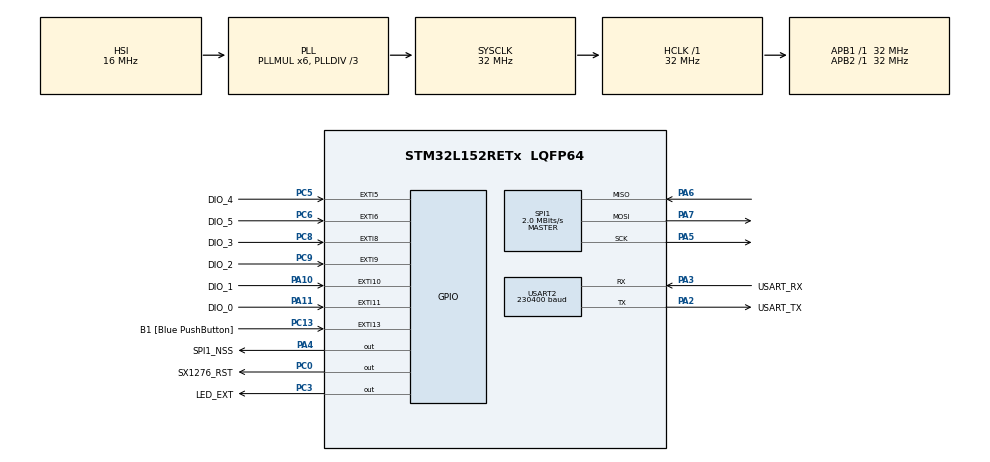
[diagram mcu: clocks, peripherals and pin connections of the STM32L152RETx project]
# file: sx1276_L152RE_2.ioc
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Mcu.Family=STM32L1
PA6.Mode=Full_Duplex_Master
PH0-OSC_IN.Signal=RCC_OSC_IN
SPI1.VirtualType=VM_MASTER
PA14.GPIO_Label=TCK
PC0.GPIO_Label=SX1276_RST
PC6.GPIO_Label=DIO_5
VP_RTC_VS_RTC_Activate.Mode=RTC_Enabled
VP_RTC_VS_RTC_Alarm_A_Intern.Mode=Alarm A
RCC.SYSCLKSource=RCC_SYSCLKSOURCE_PLLCLK
ProjectManager.StackSize=0x400
RCC.PLLDIV=RCC_PLL_DIV3
SPI1.Direction=SPI_DIRECTION_2LINES
RCC.HCLKFreq_Value=32000000
PC13-WKUP2.GPIO_Label=B1 [Blue PushButton]
RCC.APB2TimFreq_Value=32000000
SPI1.CalculateBaudRate=2.0 MBits/s
PC3.Signal=GPIO_Output
RCC.AHBFreq_Value=32000000
PH0-OSC_IN.Mode=HSE-External-Clock-Source
NVIC.EXTI15_10_IRQn=true\:5\:0\:true\:false\:true\:true\:true\:true
RCC.HSE_VALUE=8000000
PC13-WKUP2.Signal=GPXTI13
RCC.PLLMUL=RCC_PLL_MUL6
PC14-OSC32_IN.Mode=LSE-External-Oscillator
RCC.RTCClockSelectionVirtual=RCC_RTCCLKSOURCE_LSE
PA14.Mode=Serial_Wire
NVIC.TIM2_IRQn=true\:0\:0\:false\:false\:true\:false\:false\:true
PA10.GPIO_Label=DIO_1
VP_FREERTOS_VS_CMSIS_V1.Mode=CMSIS_V1
Mcu.Package=LQFP64
VP_SYS_VS_tim2.Mode=TIM2
PA6.Signal=SPI1_MISO
NVIC.TimeBase=TIM2_IRQn
USART2.VirtualMode=VM_ASYNC
RCC.USBOutput=48000000
PA2.GPIO_Label=USART_TX
NVIC.TimeBaseIP=TIM2
PA10.Signal=GPXTI10
VP_RTC_VS_RTC_Calendar.Mode=RTC_Calendar
RCC.APB1TimFreq_Value=32000000
PC5.Signal=GPXTI5
SPI1.BaudRatePrescaler=SPI_BAUDRATEPRESCALER_16
PA4.GPIO_Label=SPI1_NSS
PA3.Signal=USART2_RX
PA5.Mode=Full_Duplex_Master
PB3.GPIO_Label=SWO
RCC.MSI_VALUE=2097000
PC15-OSC32_OUT.Mode=LSE-External-Oscillator
FREERTOS.Tasks01=defaultTask,0,128,StartDefaultTask,Default,NULL,Dynamic,NULL,NULL;vRadioChData,0,128,StartRadioChData,Default,NULL,Dynamic,NULL,NULL;vUartData,0,128,StartUartData,Default,NULL,Dynamic,NULL,NULL
PA7.Mode=Full_Duplex_Master
PC9.GPIO_Label=DIO_2
PC8.Signal=GPXTI8
PC6.Signal=GPXTI6
PA11.GPIO_Label=DIO_0
PC0.Signal=GPIO_Output
PC14-OSC32_IN.Signal=RCC_OSC32_IN
NVIC.USART2_IRQn=true\:5\:0\:true\:false\:true\:true\:true\:true
USART2.BaudRate=230400
PC8.GPIO_Label=DIO_3
PA3.Mode=Asynchronous
PA13.Signal=SYS_JTMS-SWDIO
ProjectManager.TargetToolchain=STM32CubeIDE
PC15-OSC32_OUT.Signal=RCC_OSC32_OUT
PA5.Signal=SPI1_SCK
board=NUCLEO-L152RE
RCC.VCOOutputFreq_Value=96000000
RCC.APB2Freq_Value=32000000
SPI1.Mode=SPI_MODE_MASTER
PH1-OSC_OUT.Signal=RCC_OSC_OUT
PA13.Mode=Serial_Wire
NVIC.RTC_Alarm_IRQn=true\:5\:0\:true\:false\:true\:true\:true\:true
Mcu.Name=STM32L152RETx
RTC.Alarm-Alarm\ A=RTC_ALARM_A
PA2.Signal=USART2_TX
PA13.GPIO_Label=TMS
RCC.48MHZClocksFreq_Value=48000000
PB3.Signal=SYS_JTDO-TRACESWO
PA4.Signal=GPIO_Output
RCC.SYSCLKFreq_VALUE=32000000
PC5.GPIO_Label=DIO_4
PA11.Signal=GPXTI11
NVIC.EXTI9_5_IRQn=true\:5\:0\:true\:false\:true\:true\:true\:true
PA14.Signal=SYS_JTCK-SWCLK
ProjectManager.HeapSize=0x200
RCC.HSI_VALUE=16000000
NVIC.PriorityGroup=NVIC_PRIORITYGROUP_4
PA2.Mode=Asynchronous
PC3.GPIO_Label=LED_EXT
PC9.Signal=GPXTI9
RCC.APB1Freq_Value=32000000
PA3.GPIO_Label=USART_RX
PA7.Signal=SPI1_MOSI

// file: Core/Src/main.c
/* USER CODE BEGIN Header */
/* USER CODE END Header */
#include "main.h"
#include "cmsis_os.h"
#include "rtc.h"
#include "spi.h"
#include "usart.h"
#include "gpio.h"

/* USER CODE BEGIN Includes */
//#include "continuous_wave.h"
#include "rf-test.h"
/* USER CODE END Includes */

void SystemClock_Config(void);
void MX_FREERTOS_Init(void);

int main(void)
{

  /* MCU Configuration--------------------------------------------------------*/

  /* Reset of all peripherals, Initializes the Flash interface and the Systick. */
  HAL_Init();

  /* Configure the system clock */
  SystemClock_Config();

  /* Initialize all configured peripherals */
  MX_GPIO_Init();
  MX_USART2_UART_Init();
  MX_RTC_Init();
  MX_SPI1_Init();

  /* USER CODE BEGIN 2 */
  struct InputParametrsRX_s iparam;
  struct BER_RX_s berParam;
  berParam.len = BARKER_11;
  struct PER_RX_s perParam = { 620 , 20 };
  iparam.pBER = &berParam;
  iparam.pPER = &perParam;
  iparam.mode = BER;
  Measurements( &iparam );
  /* USER CODE END 2 */

  /* Call init function for freertos objects (in freertos.c) */
  MX_FREERTOS_Init();
  /* Start scheduler */
  osKernelStart();

  /* We should never get here as control is now taken by the scheduler */
  /* Infinite loop */
  while (1)
  {

  }
}

void SystemClock_Config(void)
{
  RCC_OscInitTypeDef RCC_OscInitStruct = {0};
  RCC_ClkInitTypeDef RCC_ClkInitStruct = {0};
  RCC_PeriphCLKInitTypeDef PeriphClkInit = {0};

  /** Configure the main internal regulator output voltage
  */
  __HAL_PWR_VOLTAGESCALING_CONFIG(PWR_REGULATOR_VOLTAGE_SCALE1);
  /** Initializes the RCC Oscillators according to the specified parameters
  * in the RCC_OscInitTypeDef structure.
  */
  RCC_OscInitStruct.OscillatorType = RCC_OSCILLATORTYPE_HSI|RCC_OSCILLATORTYPE_LSE;
  RCC_OscInitStruct.LSEState = RCC_LSE_ON;
  RCC_OscInitStruct.HSIState = RCC_HSI_ON;
  RCC_OscInitStruct.HSICalibrationValue = RCC_HSICALIBRATION_DEFAULT;
  RCC_OscInitStruct.PLL.PLLState = RCC_PLL_ON;
  RCC_OscInitStruct.PLL.PLLSource = RCC_PLLSOURCE_HSI;
  RCC_OscInitStruct.PLL.PLLMUL = RCC_PLL_MUL6;
  RCC_OscInitStruct.PLL.PLLDIV = RCC_PLL_DIV3;
  if (HAL_RCC_OscConfig(&RCC_OscInitStruct) != HAL_OK)
  {
    Error_Handler();
  }
  /** Initializes the CPU, AHB and APB buses clocks
  */
  RCC_ClkInitStruct.ClockType = RCC_CLOCKTYPE_HCLK|RCC_CLOCKTYPE_SYSCLK
                              |RCC_CLOCKTYPE_PCLK1|RCC_CLOCKTYPE_PCLK2;
  RCC_ClkInitStruct.SYSCLKSource = RCC_SYSCLKSOURCE_PLLCLK;
  RCC_ClkInitStruct.AHBCLKDivider = RCC_SYSCLK_DIV1;
  RCC_ClkInitStruct.APB1CLKDivider = RCC_HCLK_DIV1;
  RCC_ClkInitStruct.APB2CLKDivider = RCC_HCLK_DIV1;

  if (HAL_RCC_ClockConfig(&RCC_ClkInitStruct, FLASH_LATENCY_1) != HAL_OK)
  {
    Error_Handler();
  }
  PeriphClkInit.PeriphClockSelection = RCC_PERIPHCLK_RTC;
  PeriphClkInit.RTCClockSelection = RCC_RTCCLKSOURCE_LSE;
  if (HAL_RCCEx_PeriphCLKConfig(&PeriphClkInit) != HAL_OK)
  {
    Error_Handler();
  }
}

 /**
  * @brief  Period elapsed callback in non blocking mode
  * @note   This function is called  when TIM2 interrupt took place, inside
  * HAL_TIM_IRQHandler(). It makes a direct call to HAL_IncTick() to increment
  * a global variable "uwTick" used as application time base.
  * @param  htim : TIM handle
  * @retval None
  */
void HAL_TIM_PeriodElapsedCallback(TIM_HandleTypeDef *htim)
{
  if (htim->Instance == TIM2) {
    HAL_IncTick();
  }
}

void Error_Handler(void)
{
}

/************************ (C) COPYRIGHT STMicroelectronics *****END OF FILE****/

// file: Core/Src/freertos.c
/* USER CODE BEGIN Header */
/**
  ******************************************************************************
  * File Name          : freertos.c
  * Description        : Code for freertos applications
  ******************************************************************************
  * @attention
  *
  * <h2><center>&copy; Copyright (c) 2021 STMicroelectronics.
  * All rights reserved.</center></h2>
  *
  * This software component is licensed by ST under Ultimate Liberty license
  * SLA0044, the "License"; You may not use this file except in compliance with
  * the License. You may obtain a copy of the License at:
  *                             www.st.com/SLA0044
  *
  ******************************************************************************
  */
/* USER CODE END Header */

#include "FreeRTOS.h"
#include "task.h"
#include "main.h"
#include "cmsis_os.h"

/* USER CODE BEGIN Includes */
#include "rf-test.h"
//extern States_t State;
/* USER CODE END Includes */

/* USER CODE BEGIN Variables */
QueueHandle_t xQueueUartData;
/* USER CODE END Variables */
osThreadId defaultTaskHandle;
osThreadId vRadioChDataHandle;
osThreadId vUartDataHandle;

void StartDefaultTask(void const * argument);
void StartRadioChData(void const * argument);
void StartUartData(void const * argument);

void MX_FREERTOS_Init(void); /* (MISRA C 2004 rule 8.1) */

/* GetIdleTaskMemory prototype (linked to static allocation support) */
void vApplicationGetIdleTaskMemory( StaticTask_t **ppxIdleTaskTCBBuffer, StackType_t **ppxIdleTaskStackBuffer, uint32_t *pulIdleTaskStackSize );

/* USER CODE BEGIN GET_IDLE_TASK_MEMORY */
static StaticTask_t xIdleTaskTCBBuffer;
static StackType_t xIdleStack[configMINIMAL_STACK_SIZE];

void vApplicationGetIdleTaskMemory( StaticTask_t **ppxIdleTaskTCBBuffer, StackType_t **ppxIdleTaskStackBuffer, uint32_t *pulIdleTaskStackSize )
{
  *ppxIdleTaskTCBBuffer = &xIdleTaskTCBBuffer;
  *ppxIdleTaskStackBuffer = &xIdleStack[0];
  *pulIdleTaskStackSize = configMINIMAL_STACK_SIZE;
  /* place for user code */
}
/* USER CODE END GET_IDLE_TASK_MEMORY */

void MX_FREERTOS_Init(void) {

  /* USER CODE BEGIN RTOS_QUEUES */
  /* add queues, ... */
	xQueueUartData = xQueueCreate( 10, sizeof(uint8_t*) );
	if (xQueueUartData == NULL) {
		return;
	}
  /* USER CODE END RTOS_QUEUES */

  /* Create the thread(s) */
  /* definition and creation of defaultTask */
  osThreadDef(defaultTask, StartDefaultTask, osPriorityNormal, 0, 128);
  defaultTaskHandle = osThreadCreate(osThread(defaultTask), NULL);

  /* definition and creation of vRadioChData */
  osThreadDef(vRadioChData, StartRadioChData, osPriorityNormal, 0, 128);
  vRadioChDataHandle = osThreadCreate(osThread(vRadioChData), NULL);

  /* definition and creation of vUartData */
  osThreadDef(vUartData, StartUartData, osPriorityNormal, 0, 128);
  vUartDataHandle = osThreadCreate(osThread(vUartData), NULL);

}

void StartDefaultTask(void const * argument)
{
  for(;;)
  {
    osDelay(1);
  }
}

void StartRadioChData(void const * argument)
{
  /* USER CODE BEGIN StartRadioChData */
  /* Infinite loop */
  Radio.Rx( RX_TIMEOUT_VALUE );
  for(;;)
  {
	  Radio_Rx();
	  osDelay(1);
  }
  /* USER CODE END StartRadioChData */
}

void StartUartData(void const * argument)
{
  /* USER CODE BEGIN StartUartData */
  /* Infinite loop */
  for(;;)
  {
	  UART_Tx( );
	  osDelay(1);
  }
  /* USER CODE END StartUartData */
}

/************************ (C) COPYRIGHT STMicroelectronics *****END OF FILE****/
